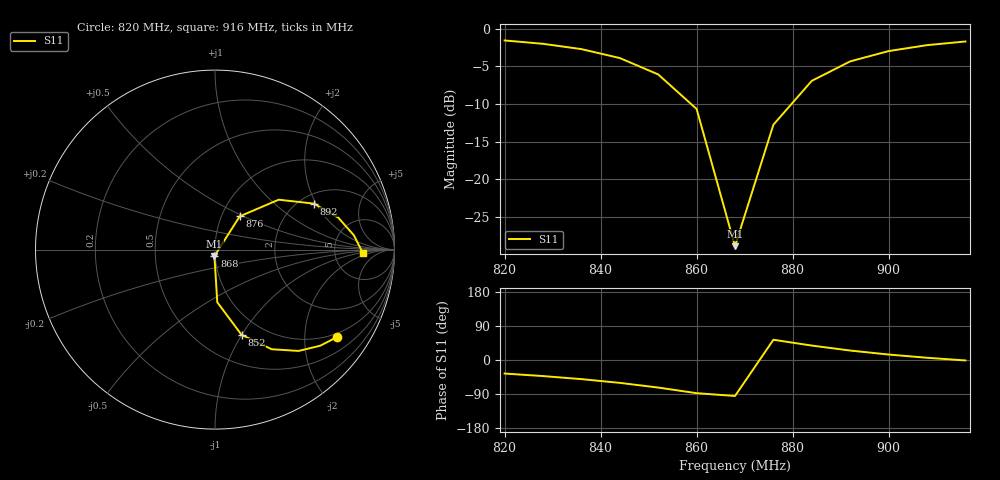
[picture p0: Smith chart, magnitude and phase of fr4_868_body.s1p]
# Hz S RI R 50
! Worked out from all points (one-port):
!   13 points, 820 MHz to 916 MHz, reference 50 ohm
!   lowest |S11| = -28.9 dB at 868 MHz (marker M1), VSWR 1.07, Z = 49.6 - j3.56 ohm
!   |S11| at or under -10 dB: 858.9 MHz to 879.8 MHz (20.9 MHz wide, 2.4 % of centre)
!   S11 on the Smith chart (normalised r, x): 820 MHz: 0.88, -2.85; 852 MHz: 0.79, -1.00; 868 MHz: 0.99, -0.07; 876 MHz: 1.22, +0.48; 892 MHz: 2.36, +1.91; 916 MHz: 10, -1
8.2e8  0.678 -0.4885
8.28e8  0.5859 -0.5356
8.36e8  0.466 -0.5646
8.44e8  0.3158 -0.5551
8.52e8  0.1478 -0.4747
8.6e8  0.0126 -0.2932
8.68e8  -0.00313 -0.0359
8.76e8  0.1376 0.1852
8.84e8  0.355 0.2781
8.92e8  0.5504 0.2563
9e8  0.6881 0.1767
9.08e8  0.7737 0.0796
9.16e8  0.8224 -0.0166
